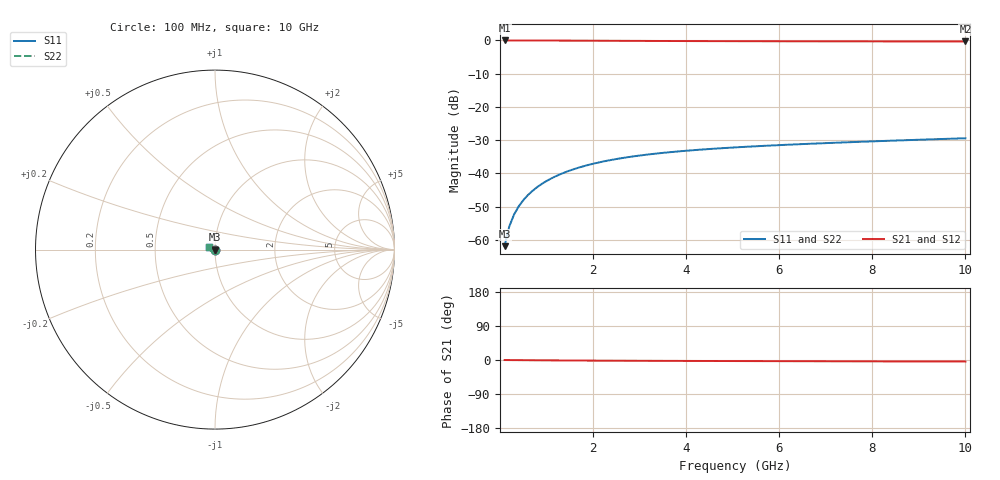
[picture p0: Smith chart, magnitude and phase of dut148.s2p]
! Touchstone file exported from HFSS 2024.1.0
!  File:  C:/UserFiles/LocalFiles/RDL_TSV_Batchsim/temp_TSV1_148_1779381165.aedt
!  Generated:  12:37:59 AM May 22, 2026
!  Design:  TSV1
!  Project:  temp_TSV1_148_1779381165
!  Setup:  Setup1
!  Solution:  Sweep
! Variables:
!  dtsv = 8.81um
!  hbump = 3um
!  htsv = 60.77um
!  lrdl = 252.1521522um
!  p = 40
!  p1 = 54.33um
!  t = 500um
!  trdl = 3um
!  wrdl = 24.89489489um
# GHz S MA R 50.000000
! Terminal data exported
! Port[1] = TSV22_T1
! Port[2] = TSV22_T2
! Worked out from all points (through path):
!   100 points, 100 MHz to 10 GHz, reference 50 ohm
!   highest |S21| = 0.00 dB at 100 MHz (marker M1); lowest = -0.3 dB at 10 GHz (marker M2)
!   lowest |S11| = -61.9 dB at 100 MHz (marker M3), VSWR 1.00, Z = 50 - j0.079 ohm
!   |S11| at or under -10 dB: start of sweep to end of sweep
!   |S22| runs from -61.9 to -29.4 dB; largest |S21 - S12| = 7.7e-15
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0.1  0.0008003 -80.7  0.9998 -0.1  0.9998 -0.1  0.0008003 -80.7
! Gamma 0 0 0 0
! Port Impedance 50 0 50 0
0.2  0.001587 -88.3  0.9997 -0.2  0.9997 -0.2  0.001587 -88.3
0.3  0.002374 -92.3  0.9995 -0.3  0.9995 -0.3  0.002374 -92.3
0.4  0.003157 -95.4  0.9993 -0.4  0.9993 -0.4  0.003157 -95.4
0.5  0.003933 -98.1  0.9991 -0.5  0.9991 -0.5  0.003933 -98.1
0.6  0.0047 -100.6  0.9987 -0.6  0.9987 -0.6  0.0047 -100.6
0.7  0.005457 -103.0  0.9984 -0.7  0.9984 -0.7  0.005457 -103.0
0.8  0.006202 -105.2  0.998 -0.7  0.998 -0.7  0.006202 -105.2
0.9  0.006934 -107.4  0.9975 -0.8  0.9975 -0.8  0.006934 -107.4
1.1  0.008355 -111.6  0.9965 -1.0  0.9965 -1.0  0.008355 -111.6
1.4  0.01037 -117.6  0.9947 -1.2  0.9947 -1.2  0.01037 -117.6
1.6  0.01162 -121.4  0.9935 -1.4  0.9935 -1.4  0.01162 -121.4
1.8  0.0128 -125.1  0.9922 -1.5  0.9922 -1.5  0.0128 -125.1
2.1  0.01445 -130.3  0.9901 -1.7  0.9901 -1.7  0.01445 -130.3
2.5  0.0164 -136.7  0.9875 -1.9  0.9875 -1.9  0.0164 -136.7
2.9  0.01811 -142.7  0.985 -2.1  0.985 -2.1  0.01811 -142.7
3.4  0.01997 -149.4  0.9821 -2.3  0.9821 -2.3  0.01997 -149.4
4.2  0.02242 -158.9  0.9783 -2.5  0.9783 -2.5  0.02242 -158.9
5.1  0.02466 -168.0  0.9749 -2.8  0.9749 -2.8  0.02466 -168.0
6.7  0.02792 178.8  0.9707 -3.2  0.9707 -3.2  0.02792 178.8
8.4  0.03096 167.7  0.9677 -3.7  0.9677 -3.7  0.03096 167.7
10  0.03372 159.1  0.9659 -4.2  0.9659 -4.2  0.03372 159.1
